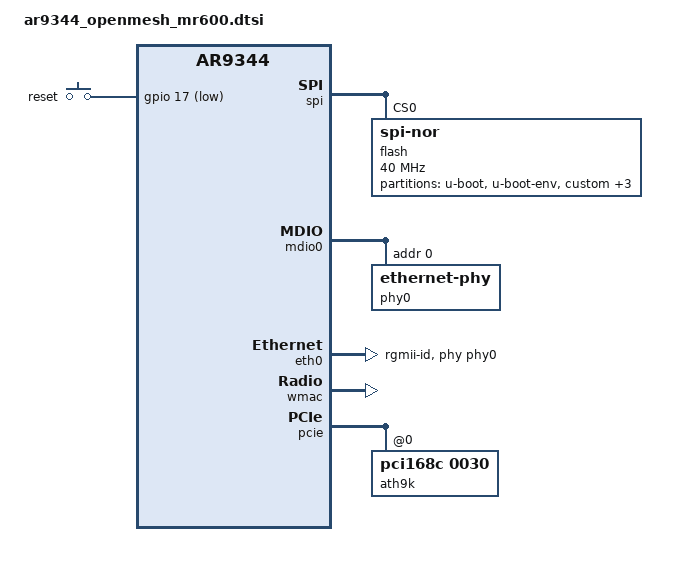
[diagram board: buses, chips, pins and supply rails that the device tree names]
// SPDX-License-Identifier: GPL-2.0-or-later OR MIT

#include "ar9344.dtsi"

#include <dt-bindings/gpio/gpio.h>
#include <dt-bindings/input/input.h>

/ {
	chosen {
		/delete-property/ bootargs;
	};

	aliases {
		label-mac-device = &eth0;
	};

	keys {
		compatible = "gpio-keys";

		reset {
			label = "reset";
			linux,code = <KEY_RESTART>;
			gpios = <&gpio 17 GPIO_ACTIVE_LOW>;
		};
	};
};

&ref {
	clock-frequency = <40000000>;
};

&spi {
	status = "okay";

	flash@0 {
		compatible = "jedec,spi-nor";
		reg = <0>;
		spi-max-frequency = <40000000>;

		/* partitions are passed via bootloader */
		partitions {
			compatible = "fixed-partitions";
			#address-cells = <1>;
			#size-cells = <1>;

			partition@0 {
				label = "u-boot";
				reg = <0x000000 0x040000>;
				read-only;
			};

			partition@40000 {
				label = "u-boot-env";
				reg = <0x040000 0x010000>;
			};

			partition@50000 {
				label = "custom";
				reg = <0x050000 0x060000>;
				read-only;
			};

			partition@b0000 {
				label = "inactive";
				reg = <0x0b0000 0x7a0000>;
			};

			partition@850000 {
				label = "inactive2";
				reg = <0x850000 0x7a0000>;
			};

			partition@ff0000 {
				label = "ART";
				reg = <0xff0000 0x010000>;
				read-only;

				nvmem-layout {
					compatible = "fixed-layout";
					#address-cells = <1>;
					#size-cells = <1>;

					macaddr_art_0: macaddr@0 {
						compatible = "mac-base";
						reg = <0x0 0x6>;
						#nvmem-cell-cells = <1>;
					};

					calibration_art_1000: calibration@1000 {
						reg = <0x1000 0x440>;
					};

					calibration_art_5000: calibration@5000 {
						reg = <0x5000 0x440>;
					};
				};
			};
		};
	};
};

&mdio0 {
	status = "okay";

	phy0: ethernet-phy@0 {
		reg = <0>;
		eee-broken-100tx;
		eee-broken-1000t;
	};
};

&eth0 {
	status = "okay";

	pll-data = <0x02000000 0x00000101 0x00001313>;

	nvmem-cells = <&macaddr_art_0 0>;
	nvmem-cell-names = "mac-address";

	phy-mode = "rgmii-id";
	phy-handle = <&phy0>;

	gmac-config {
		device = <&gmac>;
		rgmii-gmac0 = <1>;
		rxdv-delay = <3>;
		rxd-delay = <3>;
	};
};

&wmac {
	status = "okay";

	nvmem-cells = <&macaddr_art_0 1>, <&calibration_art_1000>;
	nvmem-cell-names = "mac-address", "calibration";
};

&pcie {
	status = "okay";

	ath9k: wifi@0,0 {
		compatible = "pci168c,0030";
		reg = <0x0000 0 0 0 0>;
		nvmem-cells = <&macaddr_art_0 8>, <&calibration_art_5000>;
		nvmem-cell-names = "mac-address", "calibration";

		gpio-controller;
		#gpio-cells = <2>;
	};
};
